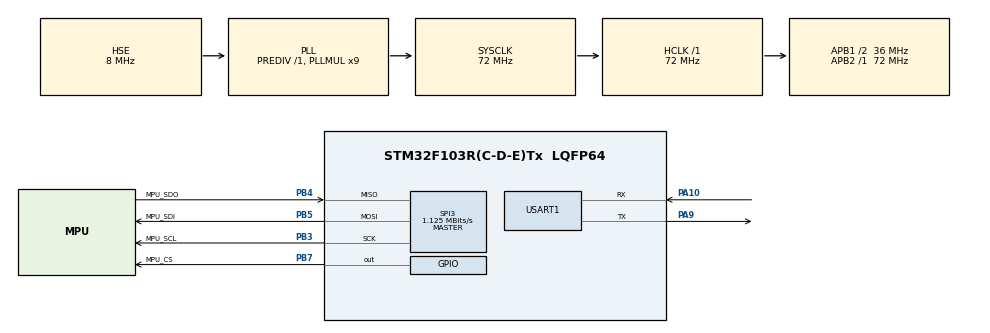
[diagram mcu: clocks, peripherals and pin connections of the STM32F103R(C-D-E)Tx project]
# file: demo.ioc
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Mcu.Family=STM32F1
Mcu.Name=STM32F103R(C-D-E)Tx
Mcu.Package=LQFP64
NVIC.PriorityGroup=NVIC_PRIORITYGROUP_4
NVIC.USART1_IRQn=true\:0\:0\:false\:false\:true\:true\:true
PA10.Mode=Asynchronous
PA10.Signal=USART1_RX
PA13.Mode=Serial_Wire
PA13.Signal=SYS_JTMS-SWDIO
PA14.Mode=Serial_Wire
PA14.Signal=SYS_JTCK-SWCLK
PA9.Mode=Asynchronous
PA9.Signal=USART1_TX
PB3.GPIO_Label=MPU_SCL
PB3.Mode=Full_Duplex_Master
PB3.Signal=SPI3_SCK
PB4.GPIO_Label=MPU_SDO
PB4.Mode=Full_Duplex_Master
PB4.Signal=SPI3_MISO
PB5.GPIO_Label=MPU_SDI
PB5.Mode=Full_Duplex_Master
PB5.Signal=SPI3_MOSI
PB7.GPIO_Label=MPU_CS
PB7.Signal=GPIO_Output
PD0-OSC_IN.Mode=HSE-External-Oscillator
PD0-OSC_IN.Signal=RCC_OSC_IN
PD1-OSC_OUT.Mode=HSE-External-Oscillator
PD1-OSC_OUT.Signal=RCC_OSC_OUT
ProjectManager.HeapSize=0x200
ProjectManager.StackSize=0x400
ProjectManager.TargetToolchain=MDK-ARM V5
RCC.AHBFreq_Value=72000000
RCC.APB1CLKDivider=RCC_HCLK_DIV2
RCC.APB1Freq_Value=36000000
RCC.APB1TimFreq_Value=72000000
RCC.APB2Freq_Value=72000000
RCC.APB2TimFreq_Value=72000000
RCC.HCLKFreq_Value=72000000
RCC.PLLMUL=RCC_PLL_MUL9
RCC.PLLSourceVirtual=RCC_PLLSOURCE_HSE
RCC.SYSCLKFreq_VALUE=72000000
RCC.SYSCLKSource=RCC_SYSCLKSOURCE_PLLCLK
RCC.USBFreq_Value=72000000
SPI3.BaudRatePrescaler=SPI_BAUDRATEPRESCALER_32
SPI3.CLKPhase=SPI_PHASE_2EDGE
SPI3.CLKPolarity=SPI_POLARITY_HIGH
SPI3.CalculateBaudRate=1.125 MBits/s
SPI3.Direction=SPI_DIRECTION_2LINES
SPI3.Mode=SPI_MODE_MASTER
SPI3.VirtualType=VM_MASTER
USART1.VirtualMode=VM_ASYNC
board=custom

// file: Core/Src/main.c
/* USER CODE BEGIN Header */
/**
 ******************************************************************************
 * @file           : main.c
 * @brief          : Main program body
 ******************************************************************************
 * @attention
 *
 * <h2><center>&copy; Copyright (c) 2022 STMicroelectronics.
 * All rights reserved.</center></h2>
 *
 * This software component is licensed by ST under BSD 3-Clause license,
 * the "License"; You may not use this file except in compliance with the
 * License. You may obtain a copy of the License at:
 *                        opensource.org/licenses/BSD-3-Clause
 *
 ******************************************************************************
 */
/* USER CODE END Header */

#include "main.h"
#include "gpio.h"
#include "spi.h"
#include "usart.h"

void SystemClock_Config(void);

/* USER CODE BEGIN 0 */

#include "MPU9250/mpu9250_spi.h"

uint16_t      Classification(void);  //声明
extern double exp(double __x);

int32_t  V = 0, Feng = 0, S = 0;
uint16_t Result;

uint16_t send_data[9] = {0, 0, 0, 0, 0, 0, 0, 0, 0};
uint16_t Sample[9];
double   Output[6];

int     Number_Sample = 200;
int16_t ACCEL_X[200];
int16_t ACCEL_Y[200];
int16_t ACCEL_Z[200];
int16_t GYRO_X[200];
int16_t GYRO_Y[200];
int16_t GYRO_Z[200];
int16_t MAG_X[200];
int16_t MAG_Y[200];
int16_t MAG_Z[200];

int16_t GetFeng(int16_t accel[]);
int16_t Getsig(int16_t accel[]);
int16_t GetSMA(int16_t accel_X[], int16_t accel_Y[], int16_t accel_Z[]);

int16_t GetFeng(int16_t accel[]) {
    int     i;
    int16_t MAX = 0, MIN = 0, FENG = 0;
    MAX = accel[0];
    MIN = accel[0];
    for (i = 1; i < Number_Sample; i++) {
        if (accel[i] > MAX) { MAX = accel[i]; }
        if (accel[i] < MIN) { MIN = accel[i]; }
    }
    FENG = MAX - MIN;
    return FENG;
}

int16_t Getsig(int16_t accel[])  //方差
{
    int     i;
    int32_t sig = 0, S = 0, M = 0;
    for (i = 1; i < Number_Sample; i++) {
        S = S + accel[i];
    }
    S = S / Number_Sample;
    for (i = 1; i < Number_Sample; i++) {
        M = M + (accel[i] - S) * (accel[i] - S) / Number_Sample;
    }
    sig = M / 10;
    return sig;
}

int16_t GetSMA(int16_t accel_X[], int16_t accel_Y[], int16_t accel_Z[])  //幅值面积
{
    int     i;
    int32_t SMA = 0, S = 0;
    for (i = 1; i < Number_Sample; i++) {
        S = S + abs(accel_X[i]) + abs(accel_Y[i]) + abs(accel_Z[i]);
    }
    SMA = S / Number_Sample;

    return SMA;
}

uint16_t Classification(void) {
    int      i, j;
    uint16_t result;
    //	double A,S;
    //	double Inputweight[10][6]=
    //	{
    //   {-0.8163,    0.1016,   -0.1901,   -0.9304,    0.6338,    0.5209},
    //   {-0.1958,    0.7418,   -0.6529,   -0.4143,   -0.6211,    0.7107},
    //   {-0.4096,   -0.9155,    0.1504,    0.6029,   -0.7526,   -0.2343},
    //   {-0.3870,    0.8094,    0.2124,   -0.3070,    0.6420,   -0.8307},
    //   {-0.7889,   -0.7381,   -0.5711,   -0.8334,    0.2758,    0.4677},
    //   { 0.1877,    0.6675,    0.0399,    0.0222,   -0.9678,   -0.3360},
    //   {-0.4345,    0.6009,    0.9784,   -0.2663,    0.7919,    0.6795},
    //   {-0.6896,    0.8358,   -0.0202,    0.4790,    0.0308,   -0.2566},
    //   {-0.9987,   -0.7254,    0.3897,    0.0495,    0.0890,    0.6564},
    //   {-0.4328,    0.0095,   -0.1772,    0.6090,    0.2129,   -0.6470},
    //	};
    //	double Bi[10]=
    //		{
    //    0.1295,
    //    0.8799,
    //    0.0441,
    //    0.6867,
    //    0.7338,
    //    0.4372,
    //    0.3798,
    //    0.9797,
    //    0.3990,
    //    0.4402,
    //		};
    //	double tempH[10];
    //	double temp_H[10];
    //	double H[10];
    //	double  Outputweight[10][3]=
    //	{
    //	 {-0.0073,   -0.0268,    0.0341},
    //   { 0.0000,   -0.0000,    0.0000},
    //   { 0.0000,    0.5856,   -0.5856},
    //   { 0.0279,   -0.1513,    0.1233},
    //   {-0.0000,    0.0000,   -0.0000},
    //   { 0.0228,   -0.4290,    0.4063},
    //   {-1.0013,    0.9742,   -0.9729},
    //   {-0.0190,   -1.5538,    1.5728},
    //   { 1.9548,   -1.5708,   -0.3840},
    //   {-0.0003,   -0.2424,    0.2427},
    //	};

    //  A=0;	S=0;
    //	for(i=0;i<10;i++)
    //	{
    //		for(j=0;j<6;j++)
    //		{
    //			A=Inputweight[i][j]*Sample[j];
    //			S=A+S;
    //		}
    //		temp_H[i] = S;
    //	 }
    //	  for(i=0;i<10;i++)
    //			{
    //				tempH[i] = temp_H[i] + Bi[i];
    //			  H[i] = 1./(1+exp(-tempH[i]));
    //			}
    //  A=0;	 S=0;
    //		for(i=0;i<3;i++)
    //	 {
    //		for(j=0;j<10;j++)
    //		{
    //			A=H[j] * Outputweight[j][i];
    //			S=A+S;
    //		}
    //		Output[i] = S;
    //	 }
    //
    //		if (Output[0]>Output[1]&&Output[0]>Output[2])
    //		{			result=82;		}
    //				if (Output[1]>Output[0]&&Output[1]>Output[2])
    //		{			result=83;		}
    //				if (Output[2]>Output[1]&&Output[2]>Output[0])
    //		{			result=84;		}
    if (Sample[0] < 45) { result = 82; }
    if (Sample[0] > 55 && Sample[0] < 140) { result = 83; }
    if (Sample[0] > 140) { result = 84; }
    return result;
}

/* USER CODE END 0 */

int main(void) {

    /* MCU Configuration--------------------------------------------------------*/

    /* Reset of all peripherals, Initializes the Flash interface and the Systick. */
    HAL_Init();

    /* Configure the system clock */
    SystemClock_Config();

    /* Initialize all configured peripherals */
    MX_GPIO_Init();
    MX_USART1_UART_Init();
    MX_SPI3_Init();

    /* Infinite loop */
    /* USER CODE BEGIN WHILE */
    Init_MPU9250();
    delay_ms(10);
    while (1) {
        READ_MPU9250_ACCEL();
        READ_MPU9250_GYRO();
        READ_MPU9250_MAG();
        send_data[0] = mpu_value.Accel[0];
        send_data[1] = mpu_value.Accel[1];
        send_data[2] = mpu_value.Accel[2];
        send_data[3] = mpu_value.Gyro[0];
        send_data[4] = mpu_value.Gyro[1];
        send_data[5] = mpu_value.Gyro[2];
        send_data[6] = mpu_value.Mag[0];
        send_data[7] = mpu_value.Mag[1];
        send_data[8] = mpu_value.Mag[2];
        printf("%d,%d,%d\r\n", send_data[0], send_data[1], send_data[2]);
        // printf("%d,%d,%d\r\n", send_data[6], send_data[7], send_data[8]);
        // printf("%d,%d,%d\r\n", send_data[6], send_data[7], send_data[8]);
        delay_ms(100);  //调节采样速率
        /* USER CODE END WHILE */

    }
}

void SystemClock_Config(void) {
    RCC_OscInitTypeDef RCC_OscInitStruct = {0};
    RCC_ClkInitTypeDef RCC_ClkInitStruct = {0};

    /** Initializes the CPU, AHB and APB busses clocks
     */
    RCC_OscInitStruct.OscillatorType = RCC_OSCILLATORTYPE_HSE;
    RCC_OscInitStruct.HSEState       = RCC_HSE_ON;
    RCC_OscInitStruct.HSEPredivValue = RCC_HSE_PREDIV_DIV1;
    RCC_OscInitStruct.HSIState       = RCC_HSI_ON;
    RCC_OscInitStruct.PLL.PLLState   = RCC_PLL_ON;
    RCC_OscInitStruct.PLL.PLLSource  = RCC_PLLSOURCE_HSE;
    RCC_OscInitStruct.PLL.PLLMUL     = RCC_PLL_MUL9;
    if (HAL_RCC_OscConfig(&RCC_OscInitStruct) != HAL_OK) {
        Error_Handler();
    }
    /** Initializes the CPU, AHB and APB busses clocks
     */
    RCC_ClkInitStruct.ClockType      = RCC_CLOCKTYPE_HCLK | RCC_CLOCKTYPE_SYSCLK | RCC_CLOCKTYPE_PCLK1 | RCC_CLOCKTYPE_PCLK2;
    RCC_ClkInitStruct.SYSCLKSource   = RCC_SYSCLKSOURCE_PLLCLK;
    RCC_ClkInitStruct.AHBCLKDivider  = RCC_SYSCLK_DIV1;
    RCC_ClkInitStruct.APB1CLKDivider = RCC_HCLK_DIV2;
    RCC_ClkInitStruct.APB2CLKDivider = RCC_HCLK_DIV1;

    if (HAL_RCC_ClockConfig(&RCC_ClkInitStruct, FLASH_LATENCY_2) != HAL_OK) {
        Error_Handler();
    }
}

void Error_Handler(void) {
}

/************************ (C) COPYRIGHT STMicroelectronics *****END OF FILE****/
